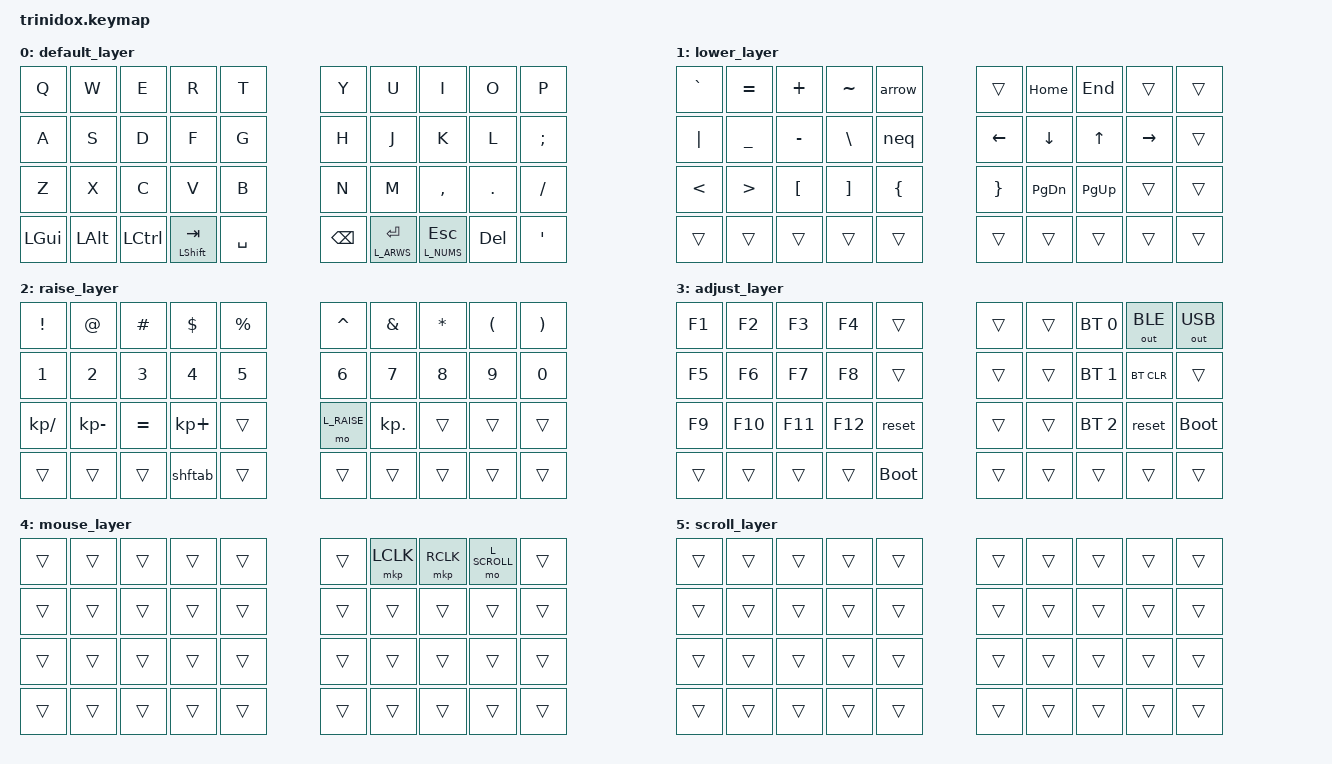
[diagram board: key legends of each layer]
#include <behaviors.dtsi>
#include <dt-bindings/zmk/keys.h>
#include <dt-bindings/zmk/bt.h>
#include <dt-bindings/zmk/outputs.h>
#include <dt-bindings/zmk/mouse.h>

#define DEFAULT 0
#define L_ARWS 1
#define L_NUMS 2
#define L_RAISE 3
#define L_MOUSE 4
#define L_SCROLL 5

/ {
    macros {
        ZMK_MACRO(neq,
            wait-ms = <0>;
			tap-ms = <20>;
            bindings = <&macro_tap &kp EXCL &kp EQUAL>;
        )
        ZMK_MACRO(arrow,
            wait-ms = <0>;
			tap-ms = <20>;
            bindings = <&macro_tap &kp MINUS &kp GT>;
        )
        ZMK_MACRO(shftab,
            wait-ms = <0>;
			tap-ms = <20>;
            bindings = <&macro_press &kp LSHFT>, <&macro_tap &kp TAB>, <&macro_release &kp LSHFT>;
        )
    };

    keymap {
        compatible = "zmk,keymap";

    /*
     * Base Layer: DEFAULT
     *
     * ,----------------------------------.                ,----------------------------------.
     * |   Q  |   W  |   E  |   R  |   T  |                |   Y  |   U  |   I  |   O  |   P  |
     * |------+------+------+------+------|                |------+------+------+------+------|
     * |   A  |   S  |  D   |   F  |   G  |                |   H  |   J  |   K  |   L  | ;  : |
     * |------+------+------+------+------|                |------+------+------+------+------|
     * |   Z  |   X  |   C  |   V  |   B  |                |   N  |   M  | ,  < | . >  | /  ? |
     * `-------------+------+------+------+------,  ,------+------+------+------+-------------'
     *        | gui  | alt  | ctrl | tab  | space|  | bspc | enter| esc  | del  |  "   |
     *        |      |      |      | shift|      |  |      | NUMS | ARWS |      |      |
     *        `----------------------------------'  '--------------------'------'------'
     */
        default_layer {
            bindings = <
                &kp Q    &kp W    &kp E    &kp R          &kp T               &kp Y    &kp U          &kp I          &kp O   &kp P
                &kp A    &kp S    &kp D    &kp F          &kp G               &kp H    &kp J          &kp K          &kp L   &kp SEMI
                &kp Z    &kp X    &kp C    &kp V          &kp B               &kp N    &kp M          &kp COMMA      &kp DOT &kp FSLH
                &kp LGUI &kp LALT &kp LCTL &mt LSHIFT TAB &kp SPACE           &kp BSPC &lt L_ARWS RET &lt L_NUMS ESC &kp DEL &kp SQT
            >;
            trackball-bindings = <&tmv>;
        };

    /*
     * Arrows
     *
     * ,----------------------------------.                ,----------------------------------.
     * |  `   |  =   |  +   |  ~   |  ->  |                | mleft| home |  end |mright|      |
     * |------+------+------+------+------|                |------+------+------+------+------|
     * |  |   |  _   |  -   |  \   |  !=  |                | left | down |  up  | right|      |
     * |------+------+------+------+------+                +------+------+------+------+------|
     * |  <   |  >   |  [   |  ]   |  {   |                |   }  | pgdn | pgup |SCROLL|      |
     * `-------------+------+------+------+------,  ,------+------+------+------+-------------'
     *        |      |      |      |      |      |  |      |      |      |      |      |
     *        `----------------------------------'  '--------------------'------'------'
     */
        lower_layer {
            bindings = <
                &kp GRAVE &kp EQUAL    &kp PLUS  &kp TILDE &arrow              &trans   &kp HOME  &kp END   &trans    &trans
                &kp PIPE  &kp UNDER    &kp MINUS &kp BSLH  &neq                &kp LEFT &kp DOWN  &kp UP    &kp RIGHT &trans
                &kp LT    &kp GT       &kp LBKT  &kp RBKT  &kp LBRC            &kp RBRC &kp PG_DN &kp PG_UP &trans    &trans
                &trans    &trans       &trans    &trans    &trans              &trans   &trans    &trans    &trans    &trans
            >;
        };

    /*
     * Numbers: numbers, specials
     * keep ,. for easy typing of numbers and IPs, keep backspace for obvious reasons
     * ,----------------------------------.                ,----------------------------------.
     * |   !  |   @  |   #  |   $  |   %  |                |   ^  |   &  |   *  |   (  |   )  |
     * |------+------+------+------+------|                |------+------+------+------+------|
     * |   1  |   2  |   3  |   4  |   5  |                |   6  |   7  |   8  |   9  |   0  |
     * |------+------+------+------+------+                +------+------+------+------+------|
     * |   /  |   -  |   =  |   +  |      |                |RAISE |   .  |      |      |      |
     * `-------------+------+------+------+------,  ,------+------+------+------+-------------'
     *        |      |      |      |      |      |  |      |      |      |      |      |
     *        `----------------------------------'  '--------------------'------'------'
     */
        raise_layer {
            bindings = <
                &kp EXCL     &kp AT       &kp HASH     &kp DLLR    &kp PRCNT         &kp CARET   &kp AMPS   &kp STAR  &kp LPAR  &kp RPAR
                &kp N1       &kp N2       &kp N3       &kp N4      &kp N5            &kp N6      &kp N7     &kp N8    &kp N9    &kp N0
                &kp KP_SLASH &kp KP_MINUS &kp EQUAL    &kp KP_PLUS &trans            &mo L_RAISE &kp KP_DOT &trans    &trans    &trans
                &trans       &trans       &trans       &shftab     &trans            &trans      &trans     &trans    &trans    &trans
            >;
        };

    /*
     * ,----------------------------------.                ,----------------------------------.
     * |  F1  |  F2  |  F3  |  F4  |      |                |      | BT P0|OUT BT|OUTUSB|      |
     * |------+------+------+------+------|                |------+------+------+------+------|
     * |  F5  |  F6  |  F7  |  F8  |      |                |      | BT P1|BT CLR|      |      |
     * |------+------+------+------+------|                |------+------+------+------+------|
     * |  F9  |  F10 |  F11 |  F12 |      |                |      | BT P2|RESET | BLDR |      |
     * `-------------+------+------+------+------,  ,------+------+------+------+-------------'
     *        |      |      |      |      |      |  |      |      |      |      |      |
     *        `----------------------------------'  '--------------------'------'------'
     */
        adjust_layer {
            bindings = <
                &kp F1 &kp F2  &kp F3  &kp F4  &trans         &trans &trans &bt BT_SEL 0 &out OUT_BLE &out OUT_USB
                &kp F5 &kp F6  &kp F7  &kp F8  &trans         &trans &trans &bt BT_SEL 1 &bt BT_CLR   &trans
                &kp F9 &kp F10 &kp F11 &kp F12 &reset         &trans &trans &bt BT_SEL 2 &reset       &bootloader
                &trans &trans  &trans  &trans  &bootloader    &trans &trans &trans       &trans       &trans
            >;
        };

    /*
     * ,----------------------------------.                ,----------------------------------.
     * |      |      |      |      |      |                |      |mleft |mright|scroll|      |
     * |------+------+------+------+------|                |------+------+------+------+------|
     * |      |      |      |      |      |                |      |      |      |      |      |
     * |------+------+------+------+------|                |------+------+------+------+------|
     * |      |      |      |      |      |                |      |      |      |      |      |
     * `-------------+------+------+------+------,  ,------+------+------+------+-------------'
     *        |      |      |      |      |      |  |      |      |      |      |      |
     *        `----------------------------------'  '--------------------'------'------'
     */
        mouse_layer {
            bindings = <
                &trans &trans &trans &trans &trans         &trans &mkp LCLK &mkp RCLK &mo L_SCROLL &trans
                &trans &trans &trans &trans &trans         &trans &trans    &trans    &trans       &trans
                &trans &trans &trans &trans &trans         &trans &trans    &trans    &trans       &trans
                &trans &trans &trans &trans &trans         &trans &trans    &trans    &trans       &trans
            >;
        };

        scroll_layer {
            bindings = <
                &trans &trans &trans &trans &trans         &trans &trans &trans &trans &trans
                &trans &trans &trans &trans &trans         &trans &trans &trans &trans &trans
                &trans &trans &trans &trans &trans         &trans &trans &trans &trans &trans
                &trans &trans &trans &trans &trans         &trans &trans &trans &trans &trans
            >;
        };
    };
};
